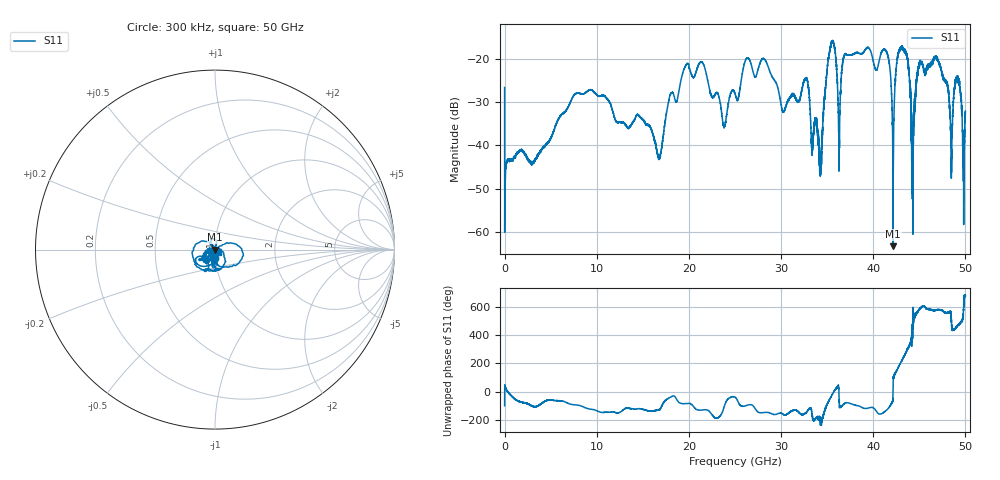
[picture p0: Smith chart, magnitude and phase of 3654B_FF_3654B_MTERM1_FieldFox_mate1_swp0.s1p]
!Created with skrf (http://scikit-rf.org).
# Hz S RI R 50.0
!freq ReS11 ImS11
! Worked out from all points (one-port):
!   10001 points, 300 kHz to 50 GHz, reference 50 ohm
!   lowest |S11| = -63.3 dB at 42.16 GHz (marker M1), VSWR 1.00, Z = 50.1 - j0.000551 ohm
!   |S11| at or under -10 dB: start of sweep to end of sweep
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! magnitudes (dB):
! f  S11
! 300 kHz  -26.7
! 255.3 MHz  -43.5
! 3.015 GHz  -44.3
! 6.25 GHz  -32.8
! 9.345 GHz  -27.2
! 12.5 GHz  -34.6
! 16.77 GHz  -43.0
! 18.75 GHz  -29.4
! 21.32 GHz  -20.8
! 23.81 GHz  -35.7
! 25 GHz  -28.1
! 26.37 GHz  -19.9
! 31.25 GHz  -28.1
! 32.75 GHz  -24.8
! 34.23 GHz  -43.8
! 35.41 GHz  -16.6
! 36.3 GHz  -41.3
! 37.5 GHz  -19.3
! 41.34 GHz  -18.1
! 42.16 GHz  -63.3
! 42.82 GHz  -18.0
! 43.75 GHz  -20.4
! 44.29 GHz  -49.0
! 45 GHz  -21.2
! 46.74 GHz  -19.6
! 48.46 GHz  -42.2
! 49.2 GHz  -25.1
! 50 GHz  -32.1
